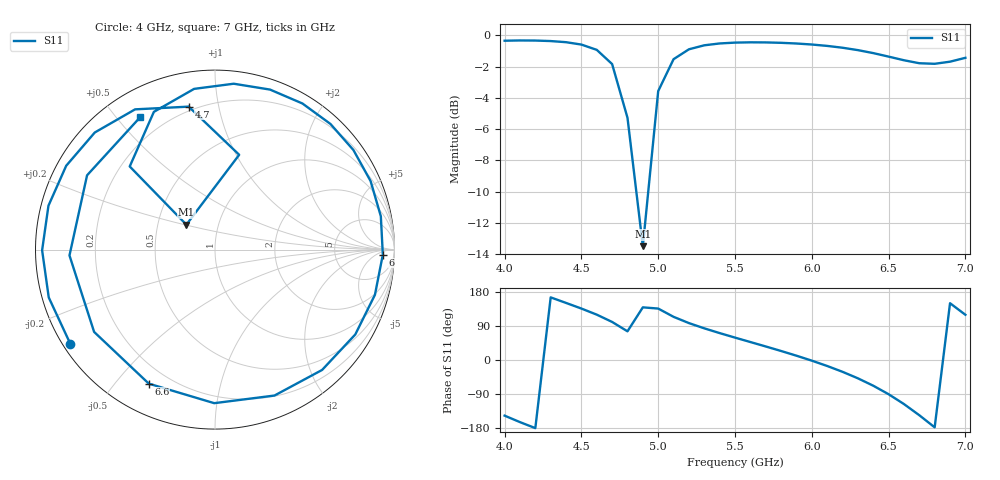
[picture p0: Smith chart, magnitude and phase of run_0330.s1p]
! Touchstone file exported from HFSS 2024.2.0
!  File:  C:/Users/wsak9/Desktop/Sim Fast/Widenad Patch/WP_AI_V1_sweep.aedt
!  Generated:  04:59:15 AM Oct 14, 2026
!  Design:  A1_model
!  Project:  WP_AI_V1_sweep
!  Setup:  Setup1
!  Solution:  Sweep
! Variables:
!  Air_gap = 3.02mm
!  Curve_Amp1 = 1.76
!  Curve_len1 = 1
!  Curve_pos = 11.81mm
!  Extra = 1.36mm
!  H_sub = 0.79mm
!  L_Patch = 19.62mm
!  L_Patch1 = 10.35mm
!  Sx = 3.95mm
!  Sy = 1.47mm
!  WS = 0.48mm
!  W_Patch = 20.31mm
!  W_Patch1 = 8.99mm
!Data is not renormalized
# GHz S MA
! Terminal data exported
! Port[1] = 1
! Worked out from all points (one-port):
!   31 points, 4 GHz to 7 GHz, reference per port
!   lowest |S11| = -13.5 dB at 4.9 GHz (marker M1), VSWR 1.54
!   |S11| at or under -10 dB: 4.857 GHz to 4.935 GHz (77.7 MHz wide, 1.59 % of centre)
!   S11 on the Smith chart (normalised r, x): 4 GHz: 0.02, -0.30; 4.7 GHz: 0.18, +0.82; 6 GHz: 25, -11; 6.6 GHz: 0.13, -0.61; 7 GHz: 0.11, +0.58
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4  0.962 -146.9
4.1  0.9639 -163.9
4.2  0.9632 -179.8
4.3  0.9596 165.2
4.4  0.9516 150.6
4.5  0.935 135.7
4.6  0.8993 119.7
4.7  0.8099 100.4
4.8  0.5451 75.7
4.9  0.2114 139.0
5  0.6636 135.7
5.1  0.8396 113.9
5.2  0.903 97.4
5.3  0.9301 83.6
5.5  0.9487 59.1
5.7  0.95 35.7
5.9  0.9425 11.4
6  0.9355 -1.7
6.1  0.926 -15.8
6.2  0.9135 -31.2
6.3  0.8976 -48.3
6.4  0.878 -67.8
6.5  0.8556 -90.3
6.6  0.833 -116.3
6.7  0.8148 -145.8
6.8  0.8114 -177.7
6.9  0.8242 149.9
7  0.848 119.3
